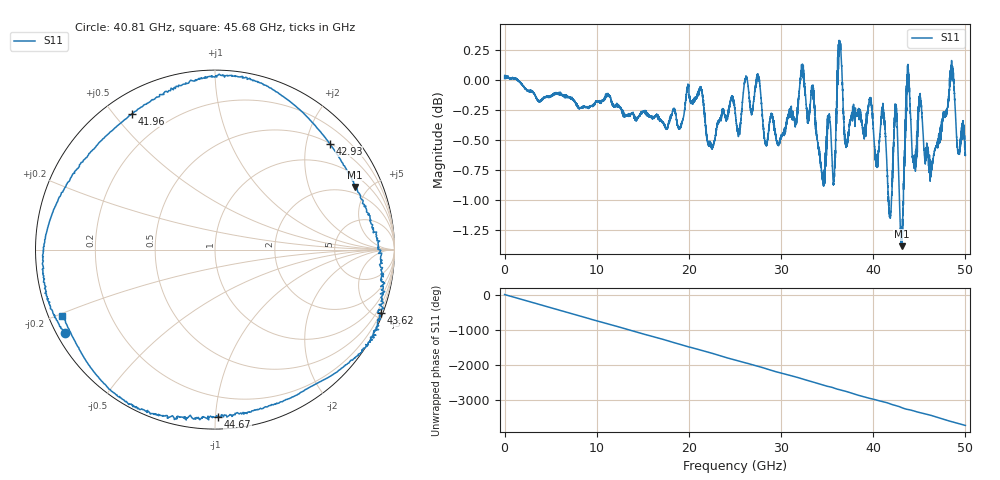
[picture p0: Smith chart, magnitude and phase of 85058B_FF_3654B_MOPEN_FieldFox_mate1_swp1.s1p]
!Created with skrf (http://scikit-rf.org).
# Hz S RI R 50.0
!freq ReS11 ImS11
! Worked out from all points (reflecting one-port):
!   10001 points, 300 kHz to 50 GHz, reference 50 ohm
!   lowest |S11| = -1.4 dB at 43.1 GHz (marker M1), VSWR 12.58, Z = 80.1 + j204 ohm
!   phase of S11 starts at 0 deg and turns -3722 deg over the sweep
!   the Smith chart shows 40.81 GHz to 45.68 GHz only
!   S11 on the Smith chart (normalised r, x): 40.81 GHz: 0.02, -0.26; 41.96 GHz: 0.08, +0.56; 42.93 GHz: 0.51, +2.47; 43.62 GHz: 0.18, -5.39; 44.67 GHz: 0.07, -1.02; 45.68 GHz: 0.04, -0.21
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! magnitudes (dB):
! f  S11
! 300 kHz  0.0
! 6.25 GHz  -0.1
! 12.5 GHz  -0.2
! 18.75 GHz  -0.4
! 25 GHz  -0.3
! 27.47 GHz  0.1
! 28.35 GHz  -0.5
! 31.25 GHz  -0.3
! 32.31 GHz  0.1
! 34.51 GHz  -0.8
! 35.2 GHz  -0.3
! 35.69 GHz  -0.9
! 36.38 GHz  0.3
! 36.99 GHz  -0.5
! 37.5 GHz  -0.3
! 40.81 GHz  -0.4
! 41.96 GHz  -1.0
! 42.45 GHz  -0.2
! 42.93 GHz  -1.2
! 43.1 GHz  -1.4
! 43.62 GHz  -0.1
! 43.75 GHz  0.0
! 44.67 GHz  -0.6
! 45.11 GHz  -0.1
! 45.68 GHz  -0.6
! 48.52 GHz  0.1
! 49.21 GHz  -0.6
! 50 GHz  -0.6
